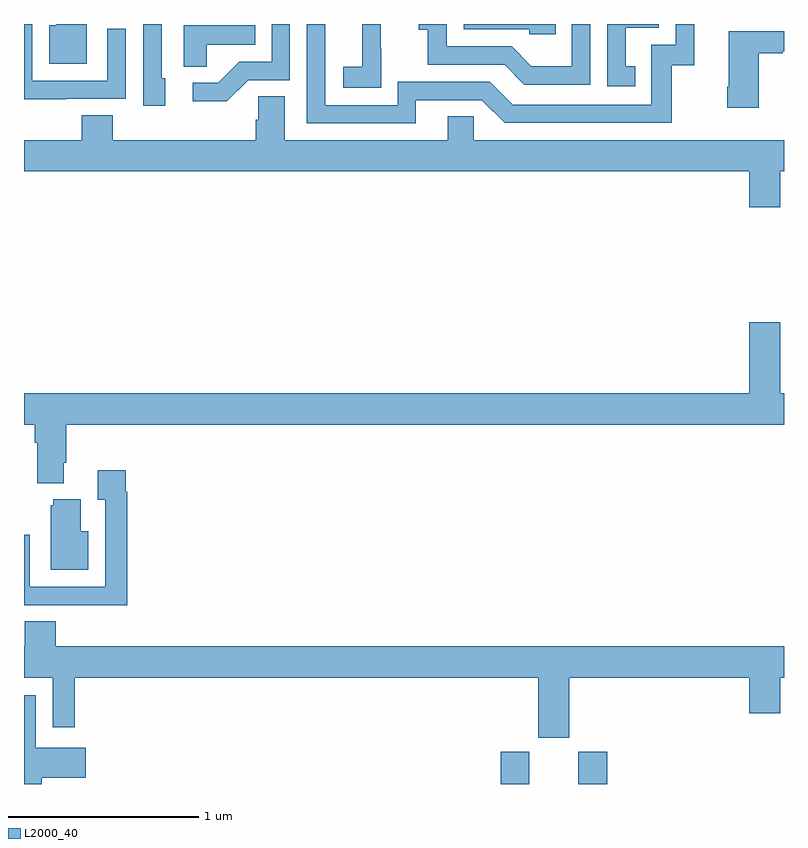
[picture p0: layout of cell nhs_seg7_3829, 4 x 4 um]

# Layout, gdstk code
import gdstk
lib = gdstk.Library(unit=1e-6, precision=1e-09)
def R(c, l, rs):  # rectangles x0, y0, x1, y1
    for r in rs: c.add(gdstk.rectangle(r[:2], r[2:], *l))
def P(c, l, *ps):  # polygons
    for p in ps: c.add(gdstk.Polygon(p, *l))
L2000_40 = (2000, 40)

nhs_seg7_3829 = lib.new_cell('nhs_seg7_3829')
R(nhs_seg7_3829, L2000_40, [(355.508,1056,355.66,1056.171), (355.916,1056,356.069,1056.171)])
P(nhs_seg7_3829, L2000_40, [(355.799,1060),(355.314,1060),(355.314,1059.972),(355.659,1059.972),(355.659,1059.945),(355.799,1059.945)],
  [(353.329,1060),(353.171,1060),(353.171,1059.994),(353.132,1059.994),(353.132,1059.791),(353.329,1059.791)],
  [(355.063,1059.6),(355.41,1059.6),(355.53,1059.48),(356.41,1059.48),(356.41,1059.783),(356.528,1059.783),(356.528,1060),(356.43,1060),(356.43,1059.891),(356.301,1059.891),(356.301,1059.576),(355.572,1059.576),(355.452,1059.696),(354.966,1059.696),(354.966,1059.573),(354.585,1059.573),(354.585,1060),(354.489,1060),(354.489,1059.477),(355.063,1059.477)],
  [(355.98,1060),(355.884,1060),(355.884,1059.778),(355.67,1059.778),(355.566,1059.882),(355.224,1059.882),(355.224,1060),(355.077,1060),(355.077,1059.971),(355.126,1059.971),(355.126,1059.786),(355.529,1059.786),(355.634,1059.681),(355.98,1059.681)],
  [(353.743,1059.714),(353.724,1059.714),(353.724,1060),(353.628,1060),(353.628,1059.57),(353.743,1059.57)],
  [(354.18,1059.705),(354.399,1059.705),(354.399,1060),(354.303,1060),(354.303,1059.801),(354.134,1059.801),(354.023,1059.69),(353.889,1059.69),(353.889,1059.593),(354.067,1059.593)],
  [(356.216,1059.777),(356.167,1059.777),(356.167,1059.981),(356.34,1059.981),(356.34,1060),(356.07,1060),(356.07,1059.672),(356.216,1059.672)],
  [(354.879,1059.871),(354.878,1059.871),(354.878,1060),(354.779,1060),(354.779,1059.775),(354.681,1059.775),(354.681,1059.665),(354.879,1059.665)],
  [(353.219,1059.606),(353.535,1059.606),(353.535,1059.976),(353.439,1059.976),(353.439,1059.702),(353.043,1059.702),(353.043,1060),(353,1060),(353,1059.605),(353.219,1059.605)],
  [(353.961,1059.89),(354.218,1059.89),(354.218,1059.994),(353.84,1059.994),(353.84,1059.775),(353.961,1059.775)],
  [(356.866,1059.847),(356.993,1059.847),(356.993,1059.857),(357,1059.857),(357,1059.961),(356.708,1059.961),(356.708,1059.67),(356.701,1059.67),(356.701,1059.558),(356.866,1059.558)],
  [(356.816,1059.036),(356.98,1059.036),(356.98,1059.224),(357,1059.224),(357,1059.388),(355.368,1059.388),(355.368,1059.515),(355.229,1059.515),(355.229,1059.388),(354.373,1059.388),(354.373,1059.62),(354.234,1059.62),(354.234,1059.497),(354.221,1059.497),(354.221,1059.388),(353.468,1059.388),(353.468,1059.521),(353.303,1059.521),(353.303,1059.388),(353,1059.388),(353,1059.224),(356.816,1059.224)],
  [(353.209,1057.69),(353.222,1057.69),(353.222,1057.892),(357,1057.892),(357,1058.056),(356.98,1058.056),(356.98,1058.431),(356.816,1058.431),(356.816,1058.056),(353,1058.056),(353,1057.892),(353.057,1057.892),(353.057,1057.796),(353.069,1057.796),(353.069,1057.583),(353.209,1057.583)],
  [(353.543,1057.538),(353.536,1057.538),(353.536,1057.651),(353.387,1057.651),(353.387,1057.495),(353.427,1057.495),(353.427,1057.038),(353.031,1057.038),(353.031,1057.312),(353,1057.312),(353,1056.942),(353.251,1056.942),(353.251,1056.941),(353.543,1056.941)],
  [(353.338,1057.33),(353.299,1057.33),(353.299,1057.498),(353.153,1057.498),(353.153,1057.467),(353.141,1057.467),(353.141,1057.127),(353.338,1057.127)],
  [(355.87,1056.56),(356.816,1056.56),(356.816,1056.372),(356.98,1056.372),(356.98,1056.56),(357,1056.56),(357,1056.724),(353.168,1056.724),(353.168,1056.857),(353.003,1056.857),(353.003,1056.724),(353,1056.724),(353,1056.56),(353.151,1056.56),(353.151,1056.3),(353.267,1056.3),(353.267,1056.56),(355.706,1056.56),(355.706,1056.243),(355.87,1056.243)],
  [(353.093,1056.032),(353.326,1056.032),(353.326,1056.19),(353.062,1056.19),(353.062,1056.466),(353,1056.466),(353,1056),(353.093,1056)])

lib.write_gds('nhs_seg7_3829.gds')
